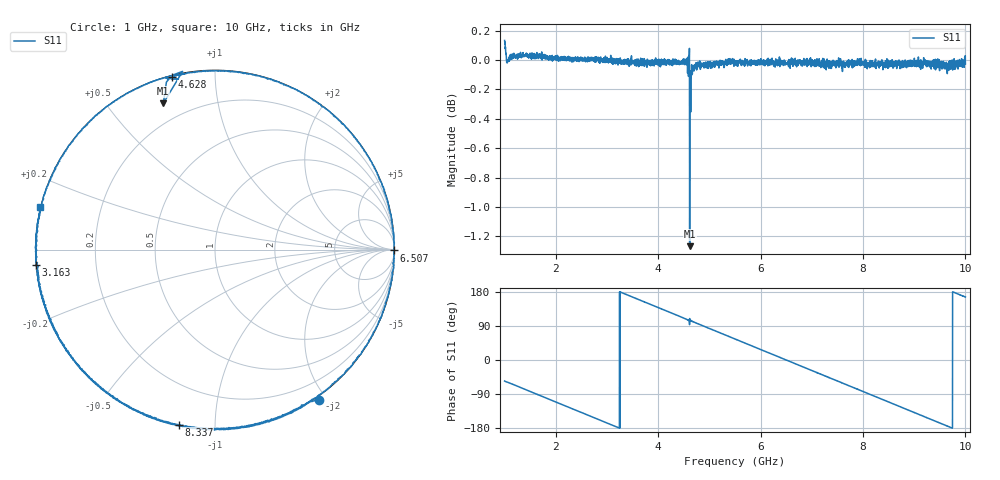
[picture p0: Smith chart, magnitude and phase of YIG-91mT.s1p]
#  HZ  S  RI  R  50.0
! Rohde & Schwarz ZVL13 2Ports - Version 3.31 - 1303.6509k13 SN: 101088
! Date: 2023-03-02 16:58:22
! Data & Calibration Information:
! Trc2:S21(Trans Norm)
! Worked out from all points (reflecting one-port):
!   4000 points, 1 GHz to 10 GHz, reference 50 ohm
!   lowest |S11| = -1.3 dB at 4.614 GHz (marker M1), VSWR 13.74, Z = 5.45 + j35.1 ohm
!   phase of S11 starts at -55 deg and turns -498 deg over the sweep
!   S11 on the Smith chart (normalised r, x): 1 GHz: -0.04, -1.91; 3.163 GHz: -0.00, -0.04; 4.628 GHz: 0.01, +0.78; 6.507 GHz: open; 8.337 GHz: 0.00, -0.81; 10 GHz: 0.00, +0.12
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1e9  0.577 -0.8356
1.578395e9  0.0447 -1.004
1.846212e9  -0.2131 -0.9797
2.125281e9  -0.4658 -0.885
2.669917e9  -0.8484 -0.5331
3.162791e9  -0.9967 -0.0831
3.250563e9  -0.9981 0.00482
3.516129e9  -0.9637 0.2555
3.80195e9  -0.8593 0.51
4.375844e9  -0.4604 0.8861
4.614404e9  -0.2879 0.8149
4.627907e9  -0.2392 0.9597
5.046512e9  0.1614 0.9805
5.501125e9  0.5668 0.8205
6.016504e9  0.8902 0.4486
6.507127e9  0.9971 -0.00498
6.626407e9  0.9901 -0.1244
6.912228e9  0.9188 -0.3864
7.168792e9  0.7943 -0.6007
7.468117e9  0.5903 -0.8029
7.751688e9  0.3507 -0.9323
8.035259e9  0.0859 -0.9935
8.336834e9  -0.2033 -0.9772
8.876969e9  -0.6659 -0.743
9.189797e9  -0.8566 -0.5149
9.446362e9  -0.955 -0.2837
9.72093e9  -0.9938 -0.0309
1e10  -0.9682 0.2371
